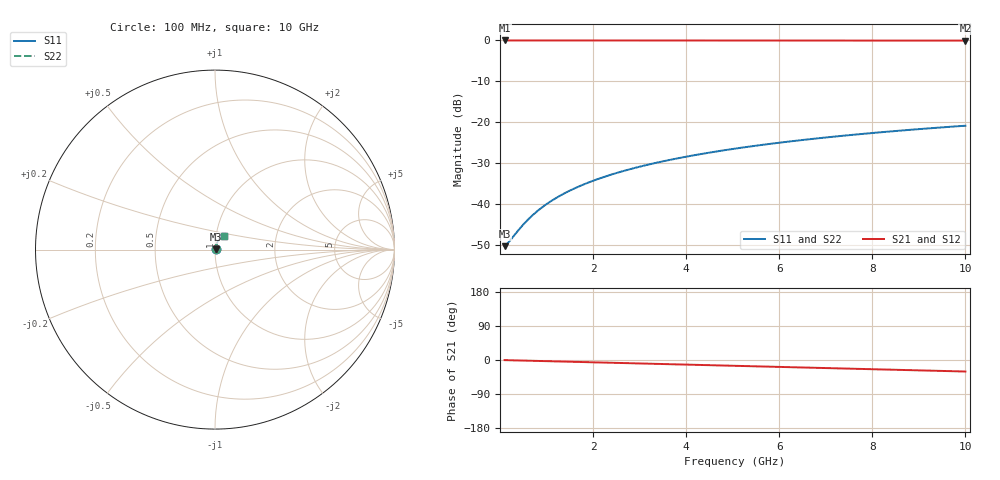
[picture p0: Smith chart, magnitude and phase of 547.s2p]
# Hz S RI R 50.00
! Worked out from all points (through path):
!   100 points, 100 MHz to 10 GHz, reference 50 ohm
!   highest |S21| = -0.03 dB at 100 MHz (marker M1); lowest = -0.1 dB at 10 GHz (marker M2)
!   group delay of S21, straight-line fit = 8.44 ps
!   lowest |S11| = -50.3 dB at 100 MHz (marker M3), VSWR 1.01, Z = 50.3 + j0.0942 ohm
!   |S11| at or under -10 dB: start of sweep to end of sweep
!   |S22| runs from -50.3 to -20.9 dB; largest |S21 - S12| = 0
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1e8  0.00291 0.000936  0.9971 -0.00528  0.9971 -0.00528  0.00291 0.000936
2e8  0.00294 0.00187  0.997 -0.0106  0.997 -0.0106  0.00294 0.00187
4e8  0.00302 0.00374  0.9968 -0.0211  0.9968 -0.0211  0.00302 0.00374
5e8  0.00307 0.00468  0.9967 -0.0264  0.9967 -0.0264  0.00307 0.00468
6e8  0.00314 0.00561  0.9965 -0.0317  0.9965 -0.0317  0.00314 0.00561
7e8  0.00321 0.00655  0.9963 -0.037  0.9963 -0.037  0.00321 0.00655
9e8  0.00338 0.00841  0.9958 -0.0475  0.9958 -0.0475  0.00338 0.00841
1.1e9  0.00358 0.0103  0.9952 -0.0581  0.9952 -0.0581  0.00358 0.0103
1.3e9  0.00383 0.0121  0.9945 -0.0686  0.9945 -0.0686  0.00383 0.0121
1.5e9  0.00411 0.014  0.9937 -0.0792  0.9937 -0.0792  0.00411 0.014
1.8e9  0.00461 0.0167  0.9922 -0.0949  0.9922 -0.0949  0.00461 0.0167
2.1e9  0.0052 0.0195  0.9905 -0.1107  0.9905 -0.1107  0.0052 0.0195
2.5e9  0.00611 0.0231  0.9879 -0.1317  0.9879 -0.1317  0.00611 0.0231
2.9e9  0.00718 0.0267  0.9847 -0.1526  0.9847 -0.1526  0.00718 0.0267
3.4e9  0.00873 0.0311  0.9802 -0.1786  0.9802 -0.1786  0.00873 0.0311
4.2e9  0.0117 0.0379  0.9714 -0.2199  0.9714 -0.2199  0.0117 0.0379
5.1e9  0.0157 0.0453  0.9594 -0.266  0.9594 -0.266  0.0157 0.0453
5.9e9  0.0198 0.0515  0.9469 -0.3063  0.9469 -0.3063  0.0198 0.0515
6.7e9  0.0245 0.0574  0.9326 -0.3461  0.9326 -0.3461  0.0245 0.0574
7.5e9  0.0296 0.0628  0.9166 -0.3851  0.9166 -0.3851  0.0296 0.0628
8.4e9  0.0359 0.0683  0.8966 -0.4282  0.8966 -0.4282  0.0359 0.0683
1e10  0.0483 0.0766  0.8561 -0.5021  0.8561 -0.5021  0.0483 0.0766
